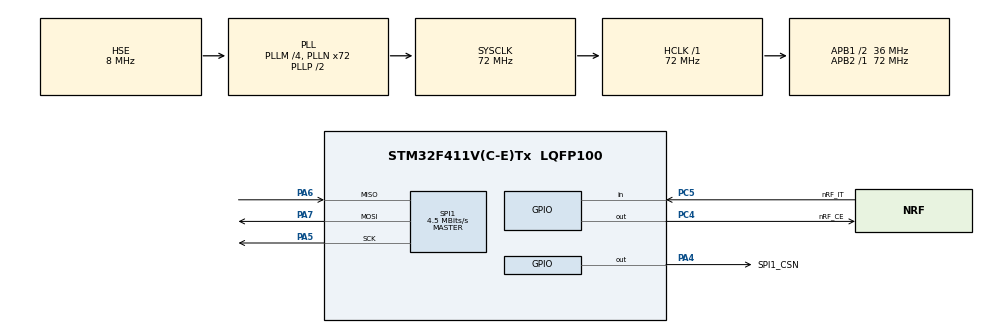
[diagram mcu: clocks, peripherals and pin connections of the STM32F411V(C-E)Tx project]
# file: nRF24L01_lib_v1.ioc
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Dma.Request0=SPI1_RX
Dma.Request1=SPI1_TX
Dma.SPI1_RX.0.Direction=DMA_PERIPH_TO_MEMORY
Dma.SPI1_RX.0.FIFOMode=DMA_FIFOMODE_DISABLE
Dma.SPI1_RX.0.Instance=DMA2_Stream0
Dma.SPI1_RX.0.MemDataAlignment=DMA_MDATAALIGN_BYTE
Dma.SPI1_RX.0.MemInc=DMA_MINC_ENABLE
Dma.SPI1_RX.0.Mode=DMA_NORMAL
Dma.SPI1_RX.0.PeriphDataAlignment=DMA_PDATAALIGN_BYTE
Dma.SPI1_RX.0.PeriphInc=DMA_PINC_DISABLE
Dma.SPI1_RX.0.Priority=DMA_PRIORITY_LOW
Dma.SPI1_TX.1.Direction=DMA_MEMORY_TO_PERIPH
Dma.SPI1_TX.1.FIFOMode=DMA_FIFOMODE_DISABLE
Dma.SPI1_TX.1.Instance=DMA2_Stream2
Dma.SPI1_TX.1.MemDataAlignment=DMA_MDATAALIGN_BYTE
Dma.SPI1_TX.1.MemInc=DMA_MINC_ENABLE
Dma.SPI1_TX.1.Mode=DMA_NORMAL
Dma.SPI1_TX.1.PeriphDataAlignment=DMA_PDATAALIGN_BYTE
Dma.SPI1_TX.1.PeriphInc=DMA_PINC_DISABLE
Dma.SPI1_TX.1.Priority=DMA_PRIORITY_LOW
Mcu.Family=STM32F4
Mcu.Name=STM32F411V(C-E)Tx
Mcu.Package=LQFP100
NVIC.DMA2_Stream0_IRQn=true\:0\:0\:false\:false\:true\:false\:true
NVIC.DMA2_Stream2_IRQn=true\:0\:0\:false\:false\:true\:false\:true
NVIC.PriorityGroup=NVIC_PRIORITYGROUP_4
PA13.Mode=Serial_Wire
PA13.Signal=SYS_JTMS-SWDIO
PA14.Mode=Serial_Wire
PA14.Signal=SYS_JTCK-SWCLK
PA4.GPIO_Label=SPI1_CSN
PA4.Signal=GPIO_Output
PA5.Mode=Full_Duplex_Master
PA5.Signal=SPI1_SCK
PA6.Mode=Full_Duplex_Master
PA6.Signal=SPI1_MISO
PA7.Mode=Full_Duplex_Master
PA7.Signal=SPI1_MOSI
PC4.GPIO_Label=nRF_CE
PC4.Signal=GPIO_Output
PC5.GPIO_Label=nRF_IT
PC5.Signal=GPIO_Input
PH0\ -\ OSC_IN.Mode=HSE-External-Oscillator
PH0\ -\ OSC_IN.Signal=RCC_OSC_IN
PH1\ -\ OSC_OUT.Mode=HSE-External-Oscillator
PH1\ -\ OSC_OUT.Signal=RCC_OSC_OUT
ProjectManager.HeapSize=0x200
ProjectManager.StackSize=0x400
ProjectManager.TargetToolchain=STM32CubeIDE
RCC.48MHZClocksFreq_Value=36000000
RCC.AHBFreq_Value=72000000
RCC.APB1CLKDivider=RCC_HCLK_DIV2
RCC.APB1Freq_Value=36000000
RCC.APB1TimFreq_Value=72000000
RCC.APB2Freq_Value=72000000
RCC.APB2TimFreq_Value=72000000
RCC.CortexFreq_Value=72000000
RCC.HCLKFreq_Value=72000000
RCC.HSE_VALUE=8000000
RCC.HSI_VALUE=16000000
RCC.LSE_VALUE=32768
RCC.PLLM=4
RCC.PLLN=72
RCC.PLLSourceVirtual=RCC_PLLSOURCE_HSE
RCC.SYSCLKFreq_VALUE=72000000
RCC.SYSCLKSource=RCC_SYSCLKSOURCE_PLLCLK
RCC.VCOOutputFreq_Value=144000000
SPI1.BaudRatePrescaler=SPI_BAUDRATEPRESCALER_16
SPI1.CalculateBaudRate=4.5 MBits/s
SPI1.Direction=SPI_DIRECTION_2LINES
SPI1.Mode=SPI_MODE_MASTER
SPI1.VirtualType=VM_MASTER
TIM1.AutoReloadPreload=TIM_AUTORELOAD_PRELOAD_ENABLE
TIM1.Period=0xFFFE
TIM1.Prescaler=71
VP_TIM1_VS_ClockSourceINT.Mode=Internal
board=custom

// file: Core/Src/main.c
/* USER CODE BEGIN Header */
/**
 ******************************************************************************
 * @file           : main.c
 * @brief          : Main program body
 ******************************************************************************
 * @attention
 *
 * <h2><center>&copy; Copyright (c) 2020 STMicroelectronics.
 * All rights reserved.</center></h2>
 *
 * This software component is licensed by ST under BSD 3-Clause license,
 * the "License"; You may not use this file except in compliance with the
 * License. You may obtain a copy of the License at:
 *                        opensource.org/licenses/BSD-3-Clause
 *
 ******************************************************************************
 */
/* USER CODE END Header */

#include "main.h"
#include "dma.h"
#include "spi.h"
#include "tim.h"
#include "gpio.h"

/* USER CODE BEGIN Includes */
//#include "nRF24L01.h"
#include "nRF24L01_lib_test.h"
/* USER CODE END Includes */

/* USER CODE BEGIN PV */
nRF24L01_struct_t *psRF = NULL;
uint8_t readTab[16];
uint8_t writeTab[5] = { 0xA0, 0xB0, 0xC0, 0xD0, 0xE0 };
uint8_t writeTab2[5] = { 0xB0, 0xB0, 0xB0, 0xB0, 0xB0 };
/* USER CODE END PV */

void SystemClock_Config(void);

int main(void) {

	/* MCU Configuration--------------------------------------------------------*/

	/* Reset of all peripherals, Initializes the Flash interface and the Systick. */
	HAL_Init();

	/* Configure the system clock */
	SystemClock_Config();

	/* Initialize all configured peripherals */
	MX_GPIO_Init();
	MX_DMA_Init();
	MX_TIM1_Init();
	MX_SPI1_Init();
	/* USER CODE BEGIN 2 */

	nRF24L01_struct_t sRF, *psRF;
	psRF = &sRF;
	nRF_Init(psRF, &hspi1, &htim1, SPI1_CSN_GPIO_Port, SPI1_CSN_Pin, nRF_CE_GPIO_Port, nRF_CE_Pin);
	HAL_TIM_Base_Start(psRF->hardware_struct.nRFtim);
	uint8_t read = getStatus(psRF);
	writeReg(psRF, CONFIG, 0x00);
	read = readReg(psRF, CONFIG);
	pwrUp(psRF);
	read = readReg(psRF, CONFIG);

	readRegExt(psRF, RX_ADDR_P0, readTab, 5);
	setReceivePipeAddress(psRF, 0, writeTab, 5);
	readRegExt(psRF, RX_ADDR_P0, readTab, 5);
	setReceivePipeAddress(psRF, 0, writeTab2, 5);
	readRegExt(psRF, RX_ADDR_P0, readTab, 5);

	/* Tests */
	test_SetterGetters(psRF);
	test_FIFO(psRF);
	/* USER CODE END 2 */

	/* Infinite loop */
	/* USER CODE BEGIN WHILE */
	while (1) {
		//delayUs(psRF, 100);
		read = readReg(psRF, CONFIG);
		writeReg(psRF, CONFIG, 0x0F);
		read = readReg(psRF, CONFIG);
		read = readReg(psRF, EN_AA);
		read = readReg(psRF, EN_RXADDR);
		read = readReg(psRF, SETUP_AW);
		read = readReg(&sRF, SETUP_RETR);
		read = readReg(psRF, RF_CH);
		read = readReg(psRF, RF_SETUP);
		read = readReg(psRF, OBSERVE_TX);
		writeRegExt(psRF, TX_ADDR, writeTab, 5);
		writeRegExt(psRF, RX_ADDR_P1, writeTab, 5);
		readRegExt(psRF, TX_ADDR, readTab, 5);
		readRegExt(psRF, RX_ADDR_P1, readTab, 5);
		/* USER CODE END WHILE */

	}
}

void SystemClock_Config(void) {
	RCC_OscInitTypeDef RCC_OscInitStruct = { 0 };
	RCC_ClkInitTypeDef RCC_ClkInitStruct = { 0 };

	/** Configure the main internal regulator output voltage
	 */
	__HAL_RCC_PWR_CLK_ENABLE();
	__HAL_PWR_VOLTAGESCALING_CONFIG(PWR_REGULATOR_VOLTAGE_SCALE1);
	/** Initializes the CPU, AHB and APB busses clocks
	 */
	RCC_OscInitStruct.OscillatorType = RCC_OSCILLATORTYPE_HSE;
	RCC_OscInitStruct.HSEState = RCC_HSE_ON;
	RCC_OscInitStruct.PLL.PLLState = RCC_PLL_ON;
	RCC_OscInitStruct.PLL.PLLSource = RCC_PLLSOURCE_HSE;
	RCC_OscInitStruct.PLL.PLLM = 4;
	RCC_OscInitStruct.PLL.PLLN = 72;
	RCC_OscInitStruct.PLL.PLLP = RCC_PLLP_DIV2;
	RCC_OscInitStruct.PLL.PLLQ = 4;
	if (HAL_RCC_OscConfig(&RCC_OscInitStruct) != HAL_OK) {
		Error_Handler();
	}
	/** Initializes the CPU, AHB and APB busses clocks
	 */
	RCC_ClkInitStruct.ClockType = RCC_CLOCKTYPE_HCLK | RCC_CLOCKTYPE_SYSCLK | RCC_CLOCKTYPE_PCLK1 | RCC_CLOCKTYPE_PCLK2;
	RCC_ClkInitStruct.SYSCLKSource = RCC_SYSCLKSOURCE_PLLCLK;
	RCC_ClkInitStruct.AHBCLKDivider = RCC_SYSCLK_DIV1;
	RCC_ClkInitStruct.APB1CLKDivider = RCC_HCLK_DIV2;
	RCC_ClkInitStruct.APB2CLKDivider = RCC_HCLK_DIV1;

	if (HAL_RCC_ClockConfig(&RCC_ClkInitStruct, FLASH_LATENCY_2) != HAL_OK) {
		Error_Handler();
	}
}

/* USER CODE BEGIN 4 */
void HAL_SPI_RxHalfCpltCallback(SPI_HandleTypeDef *hspi) {

}
/* USER CODE END 4 */

void Error_Handler(void) {
}

/************************ (C) COPYRIGHT STMicroelectronics *****END OF FILE****/
